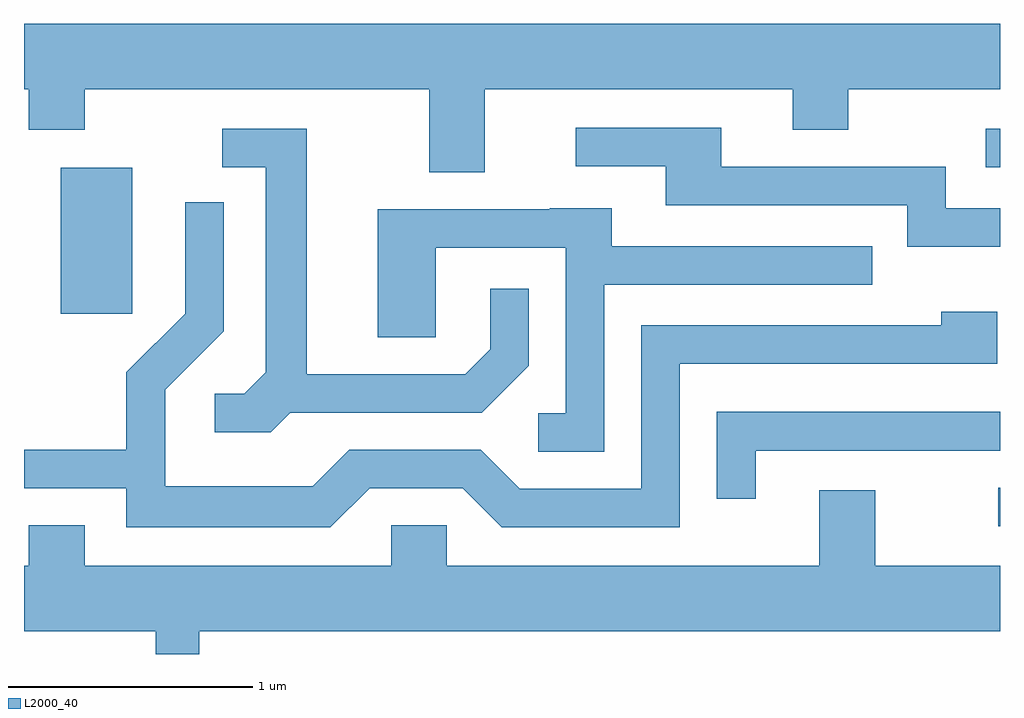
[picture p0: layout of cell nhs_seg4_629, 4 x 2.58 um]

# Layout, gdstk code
import gdstk
lib = gdstk.Library(unit=1e-6, precision=1e-09)
def R(c, l, rs):  # rectangles x0, y0, x1, y1
    for r in rs: c.add(gdstk.rectangle(r[:2], r[2:], *l))
def P(c, l, *ps):  # polygons
    for p in ps: c.add(gdstk.Polygon(p, *l))
L2000_40 = (2000, 40)

nhs_seg4_629 = lib.new_cell('nhs_seg4_629')
R(nhs_seg4_629, L2000_40, [(207.603,1288.506,207.611,1288.664), (203.761,1289.376,204.054,1289.974), (207.553,1289.976,207.611,1290.134)])
P(nhs_seg4_629, L2000_40, [(205.499,1290.296),(206.761,1290.296),(206.761,1290.131),(206.989,1290.131),(206.989,1290.296),(207.611,1290.296),(207.611,1290.564),(203.611,1290.564),(203.611,1290.296),(203.631,1290.296),(203.631,1290.131),(203.859,1290.131),(203.859,1290.296),(205.271,1290.296),(205.271,1289.956),(205.499,1289.956)],
  [(207.611,1289.809),(207.389,1289.809),(207.389,1289.979),(206.469,1289.979),(206.469,1290.139),(205.873,1290.139),(205.873,1289.981),(206.241,1289.981),(206.241,1289.821),(207.231,1289.821),(207.231,1289.651),(207.611,1289.651)],
  [(204.702,1288.971),(205.487,1288.971),(205.679,1289.164),(205.679,1289.478),(205.521,1289.478),(205.521,1289.232),(205.419,1289.129),(204.769,1289.129),(204.769,1290.134),(204.423,1290.134),(204.423,1289.976),(204.601,1289.976),(204.601,1289.137),(204.514,1289.049),(204.393,1289.049),(204.393,1288.891),(204.622,1288.891)],
  [(205.027,1288.661),(205.409,1288.661),(205.569,1288.501),(206.299,1288.501),(206.299,1289.171),(207.599,1289.171),(207.599,1289.384),(207.371,1289.384),(207.371,1289.329),(206.141,1289.329),(206.141,1288.659),(205.642,1288.659),(205.482,1288.819),(204.944,1288.819),(204.794,1288.669),(204.189,1288.669),(204.189,1289.064),(204.429,1289.304),(204.429,1289.833),(204.271,1289.833),(204.271,1289.377),(204.031,1289.137),(204.031,1288.819),(203.611,1288.819),(203.611,1288.661),(204.031,1288.661),(204.031,1288.501),(204.867,1288.501)],
  [(205.989,1289.496),(207.088,1289.496),(207.088,1289.654),(206.019,1289.654),(206.019,1289.809),(205.765,1289.809),(205.765,1289.804),(205.061,1289.804),(205.061,1289.281),(205.299,1289.281),(205.299,1289.646),(205.831,1289.646),(205.831,1288.969),(205.718,1288.969),(205.718,1288.811),(205.989,1288.811)],
  [(206.609,1288.816),(207.611,1288.816),(207.611,1288.974),(206.451,1288.974),(206.451,1288.618),(206.609,1288.618)],
  [(204.329,1288.076),(207.611,1288.076),(207.611,1288.344),(207.099,1288.344),(207.099,1288.654),(206.871,1288.654),(206.871,1288.344),(205.344,1288.344),(205.344,1288.509),(205.116,1288.509),(205.116,1288.344),(203.859,1288.344),(203.859,1288.509),(203.631,1288.509),(203.631,1288.344),(203.611,1288.344),(203.611,1288.076),(204.151,1288.076),(204.151,1287.982),(204.329,1287.982)])

lib.write_gds('nhs_seg4_629.gds')
